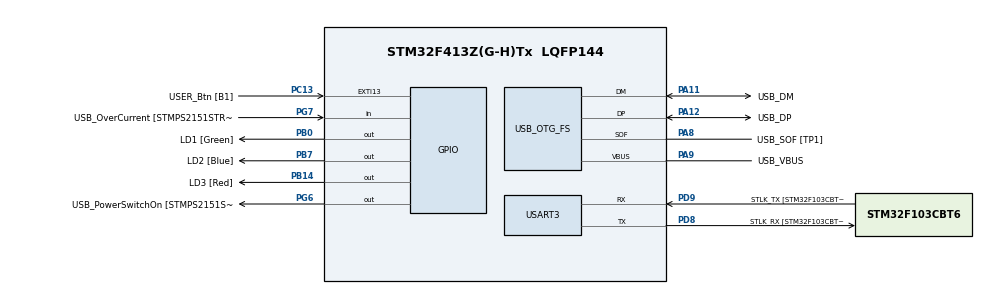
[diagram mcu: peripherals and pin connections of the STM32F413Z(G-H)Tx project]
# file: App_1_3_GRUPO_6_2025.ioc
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Mcu.Family=STM32F4
Mcu.Name=STM32F413Z(G-H)Tx
Mcu.Package=LQFP144
NVIC.PriorityGroup=NVIC_PRIORITYGROUP_4
PA10.GPIO_Label=USB_ID
PA10.Signal=USB_OTG_FS_ID
PA11.GPIO_Label=USB_DM
PA11.Mode=Device_Only
PA11.Signal=USB_OTG_FS_DM
PA12.GPIO_Label=USB_DP
PA12.Mode=Device_Only
PA12.Signal=USB_OTG_FS_DP
PA13.GPIO_Label=TMS
PA13.Mode=Serial_Wire
PA13.Signal=SYS_JTMS-SWDIO
PA14.GPIO_Label=TCK
PA14.Mode=Serial_Wire
PA14.Signal=SYS_JTCK-SWCLK
PA8.GPIO_Label=USB_SOF [TP1]
PA8.Mode=Activate_SOF_FS
PA8.Signal=USB_OTG_FS_SOF
PA9.GPIO_Label=USB_VBUS
PA9.Mode=Activate_VBUS
PA9.Signal=USB_OTG_FS_VBUS
PB0.GPIO_Label=LD1 [Green]
PB0.Signal=GPIO_Output
PB14.GPIO_Label=LD3 [Red]
PB14.Signal=GPIO_Output
PB3.GPIO_Label=SWO
PB3.Signal=SYS_JTDO-SWO
PB7.GPIO_Label=LD2 [Blue]
PB7.Signal=GPIO_Output
PC13.GPIO_Label=USER_Btn [B1]
PC13.Signal=GPXTI13
PC14-OSC32_IN.Mode=LSE-External-Oscillator
PC14-OSC32_IN.Signal=RCC_OSC32_IN
PC15-OSC32_OUT.Mode=LSE-External-Oscillator
PC15-OSC32_OUT.Signal=RCC_OSC32_OUT
PD8.GPIO_Label=STLK_RX [STM32F103CBT6_PA3]
PD8.Mode=Asynchronous
PD8.Signal=USART3_TX
PD9.GPIO_Label=STLK_TX [STM32F103CBT6_PA2]
PD9.Mode=Asynchronous
PD9.Signal=USART3_RX
PG6.GPIO_Label=USB_PowerSwitchOn [STMPS2151STR_EN]
PG6.Signal=GPIO_Output
PG7.GPIO_Label=USB_OverCurrent [STMPS2151STR_FAULT]
PG7.Signal=GPIO_Input
PH0\ -\ OSC_IN.GPIO_Label=MCO
PH0\ -\ OSC_IN.Mode=HSE-External-Clock-Source
PH0\ -\ OSC_IN.Signal=RCC_OSC_IN
PH1\ -\ OSC_OUT.Mode=HSE-External-Clock-Source
PH1\ -\ OSC_OUT.Signal=RCC_OSC_OUT
ProjectManager.HeapSize=0x200
ProjectManager.StackSize=0x400
ProjectManager.TargetToolchain=STM32CubeIDE
RCC.48MHZClocksFreq_Value=24000000
RCC.AHBFreq_Value=96000000
RCC.APB1CLKDivider=RCC_HCLK_DIV2
RCC.APB1Freq_Value=48000000
RCC.APB1TimFreq_Value=96000000
RCC.APB2Freq_Value=96000000
RCC.APB2TimFreq_Value=96000000
RCC.CortexFreq_Value=96000000
RCC.HCLKFreq_Value=96000000
RCC.HSE_VALUE=8000000
RCC.HSI_VALUE=16000000
RCC.PLLM=8
RCC.PLLMUL=RCC_PLL_MUL9
RCC.PLLN=384
RCC.PLLP=RCC_PLLP_DIV4
RCC.PLLQ=8
RCC.PRESCALERUSB=RCC_USBCLKSOURCE_PLL_DIV1_5
RCC.SYSCLKFreq_VALUE=96000000
RCC.SYSCLKSource=RCC_SYSCLKSOURCE_PLLCLK
RCC.SYSCLKSourceVirtual=RCC_SYSCLKSOURCE_PLLCLK
RCC.USBFreq_Value=48000000
RCC.VCOOutputFreq_Value=384000000
USART3.VirtualMode=VM_ASYNC
USB_OTG_FS.VirtualMode=Device_Only
board=NUCLEO-F413ZH

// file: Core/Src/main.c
/* USER CODE BEGIN Header */
/**
  ******************************************************************************
  * @file           : main.c
  * @brief          : Main program body
  ******************************************************************************
  * @attention
  *
  * Copyright (c) 2025 STMicroelectronics.
  * All rights reserved.
  *
  * This software is licensed under terms that can be found in the LICENSE file
  * in the root directory of this software component.
  * If no LICENSE file comes with this software, it is provided AS-IS.
  *
  ******************************************************************************
  */
/* USER CODE END Header */
#include "main.h"
#include "API_GPIO.h"
#include "API_Delay.h"
#include "API_Debounce.h"

/* USER CODE BEGIN PD */
#define N 3 																		// Variable N para definir el tamaño del vector LED
/* USER CODE END PD */

/* USER CODE BEGIN PV */
uint16_t LED[N]={LD1_Pin, LD2_Pin, LD3_Pin};										//vector de leds
delay_t delay1, delay2, delay3, delay4, delay5;
uint16_t delay[5]={100, 150, 300, 600};												//vector para distintos tiempos de espera funcion delay no bloqueante
uint8_t estado_boton=0;
uint8_t led_actual=0;
uint8_t secuencia=0;																//Numero de secuencia
bool_t 	Flag_Sec4=0;
/* USER CODE END PV */
void SystemClock_Config(void);
void MX_GPIO_Init(void);

/* USER CODE BEGIN 0 */
bool_t readButton = true;
/* USER CODE END 0 */

int main(void)
{
  /* USER CODE BEGIN 1 */
  delayInit(&delay1, delay[0]);														//200ms
  delayInit(&delay2, delay[1]);														//150ms
  delayInit(&delay3, delay[2]);														//300ms
  delayInit(&delay4, delay[3]);														//600ms
  delayInit(&delay5, delay[1]);														//150ms
  /* USER CODE END 1 */

  /* MCU Configuration-------------------------------------------------------------------------------------------------------------------------------------------*/

  /* Reset of all peripherals, Initializes the Flash interface and the Systick. */
  HAL_Init();

  /* Configure the system clock */
  SystemClock_Config();

  /* Initialize all configured peripherals */
  MX_GPIO_Init();
  MX_USART3_UART_Init();
  MX_USB_OTG_FS_PCD_Init();

  /* USER CODE BEGIN 2 */
  writeLedOff_GPIO(LED[0] | LED[1] | LED[2]);
  debounceFSM_init();
  /* USER CODE END 2 */

  /* Infinite loop */
  /* USER CODE BEGIN WHILE */
  /*-----------------------------------------------------------------------------------------------------------------------------------------------------------*/
  while (1){
	/* Programa para hacer parpadear leds en secuencia cada 200 ms */
	  readButton = readButton_GPIO(); 												// Lee estado actual del boton y lo guarda
	  debounceFSM_update(readButton);
	  if(readKey()){
		 secuencia=(secuencia+1)%4;													// Cambia entre las 4 secuencias
		 writeLedOff_GPIO(LED[0] | LED[1] | LED[2]);								// Se apagan todos los leds antes de comenzar una nueva secuencia
		 led_actual=0;
		 Flag_Sec4=0;
	  }
	  switch (secuencia)
	  {
	  	  case 0:																	//Secuencia 1 Parpadean en secuencia cada 150ms (verde, azul, rojo)

	          if (delayRead(&delay2)){
	        	  toggleLed_GPIO(LED[led_actual]);
	          	  led_actual=(led_actual+1)%N;
	          }
	  	  	  break;

	        case 1:																	//Secuencia 2 Parpadean los tres en simultaneo cada 300ms
	  	  		if (delayRead(&delay3))
	  	  		{
	  	  			 toggleLed_GPIO(LED[0] | LED[1] | LED[2]);
	  	  		}
	  	  		break;

	        case 2:																	// Secuencia 3 Parpadean Led Verde 100ms, Led Azul 300ms y Led Rojo 600ms
	  	  		if (delayRead(&delay1))
	  	  		{
	  	  			toggleLed_GPIO(LED[0]);
	  	  		}
	  	  		if (delayRead(&delay3)){
	  	  			toggleLed_GPIO(LED[1]);
	  	  		}

	  	  		if (delayRead(&delay4)){
	  	  			toggleLed_GPIO(LED[2]);
	  	  		}

	  	  		break;

	        case 3:																	// Secuencia 4 Parpadea Verde y Rojo en simultaneo alternado con Azul cada 150ms

	        	if (delayRead(&delay2) && Flag_Sec4==0)								// En la primera vez que se ingresa a la secuencia se apaga el led2 y se enciende 1 y 3
	  	  		{
	  	  			writeLedOff_GPIO(LED[1]);
	  	  			writeLedOn_GPIO(LED[0] | LED[2]);
	  	  			Flag_Sec4=1;
	  	  		}

	  	  		if (delayRead(&delay5))
	  	  		{
	  	  			  toggleLed_GPIO(LED[0]	| LED[2]);
	  	  			  toggleLed_GPIO(LED[1]);
	  	  		}

	  	  		break;
	  	}
  }
/* USER CODE END WHILE */

}

void Error_Handler(void){
  __disable_irq();
  while (1){
  }
}
